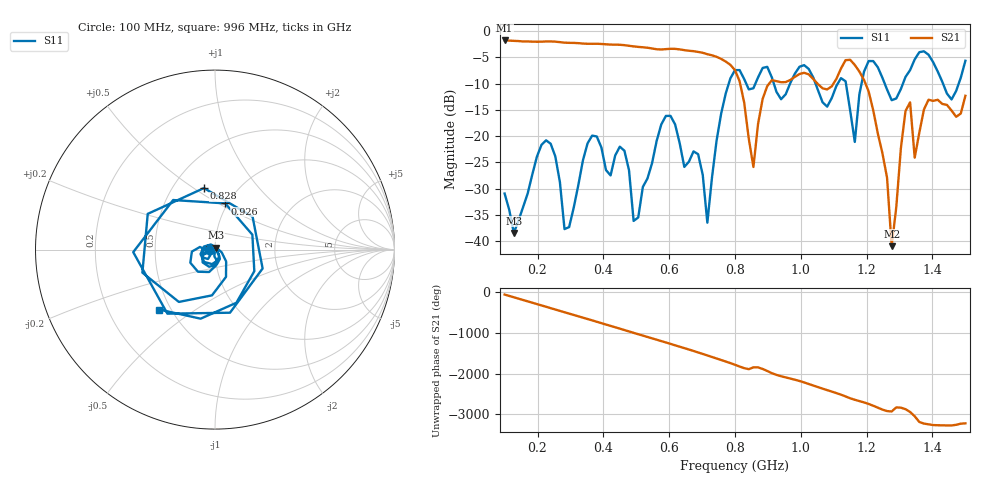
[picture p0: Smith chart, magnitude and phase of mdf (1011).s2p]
! NanoVNA-App
! Date: 2025-09-25 15:46:17
! Start: 100MHz Stop: 1,5GHz Points: 101
! S-Parameter data: F S11 S21 S12 S22
# Hz S RI R 50
!  Frequency  S11_Real  S11_Imag  S21_Real  S21_Imag  S12_Real  S12_Imag  S22_Real  S22_Imag
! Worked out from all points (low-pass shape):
!   101 points, 100 MHz to 1.5 GHz, reference 50 ohm
!   highest |S21| = -1.81 dB at 100 MHz (marker M1); lowest = -40.9 dB at 1.276 GHz (marker M2)
!   |S21| within 3 dB of the highest: start of sweep to 738.6 MHz
!   lowest |S11| = -38.4 dB at 128 MHz (marker M3), VSWR 1.02, Z = 50.4 + j1.13 ohm
!   |S11| at or under -10 dB: start of sweep to 781.1 MHz; 1.045 GHz to 1.112 GHz (67.76 MHz wide, 6.28 % of centre); 1.255 GHz to 1.31 GHz (55.55 MHz wide, 4.33 % of centre) (the widest 3 of 7)
!   S12 and S22 are empty: the file has one direction only
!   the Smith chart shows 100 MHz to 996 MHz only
!   S11 on the Smith chart (normalised r, x): 100 MHz: 0.95, -0.01; 828 MHz: 0.71, +0.55; 926 MHz: 0.97, +0.54; 996 MHz: 0.43, -0.36
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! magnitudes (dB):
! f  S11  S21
! 100 MHz  -30.9  -1.8
! 128 MHz  -38.4  -1.9
! 212 MHz  -21.7  -2.0
! 282 MHz  -37.7  -2.2
! 338 MHz  -24.6  -2.4
! 464 MHz  -22.8  -2.7
! 492 MHz  -36.1  -2.9
! 576 MHz  -17.8  -3.5
! 688 MHz  -23.4  -4.0
! 716 MHz  -36.5  -4.4
! 800 MHz  -7.4  -7.5
! 828 MHz  -9.2  -13.7
! 856 MHz  -10.9  -25.9
! 926 MHz  -11.6  -9.5
! 996 MHz  -6.8  -8.2
! 1.038 GHz  -8.9  -9.2
! 1.164 GHz  -21.1  -6.5
! 1.192 GHz  -7.7  -9.3
! 1.276 GHz  -13.2  -40.9
! 1.318 GHz  -8.7  -15.2
! 1.346 GHz  -5.4  -24.1
! 1.5 GHz  -5.7  -12.3
